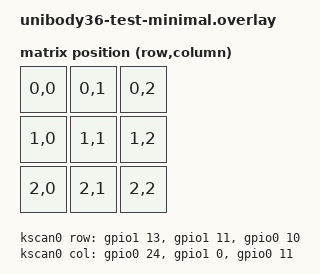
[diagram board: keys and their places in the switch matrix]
/*
 * Minimal 3x3 test configuration
 * Tests first 3 rows and first 3 columns
 * Replace unibody36.overlay with this to test
 */

#include <dt-bindings/zmk/matrix_transform.h>

/ {
    chosen {
        zmk,kscan = &kscan0;
        zmk,matrix_transform = &default_transform;
    };

    default_transform: keymap_transform_0 {
        compatible = "zmk,matrix-transform";
        columns = <3>;
        rows = <3>;

        map = <
            RC(0,0) RC(0,1) RC(0,2)
            RC(1,0) RC(1,1) RC(1,2)
            RC(2,0) RC(2,1) RC(2,2)
        >;
    };

    kscan0: kscan {
        compatible = "zmk,kscan-gpio-matrix";
        label = "KSCAN";
        wakeup-source;

        diode-direction = "col2row";

        // First 3 rows only
        row-gpios
            = <&gpio1 13 (GPIO_ACTIVE_HIGH | GPIO_PULL_DOWN)>  // P1.13 - Top row
            , <&gpio1 11 (GPIO_ACTIVE_HIGH | GPIO_PULL_DOWN)>  // P1.11 - Second row
            , <&gpio0 10 (GPIO_ACTIVE_HIGH | GPIO_PULL_DOWN)>  // P0.10 - Third row
            ;

        // First 3 columns only (avoiding potentially problematic pins)
        col-gpios
            = <&gpio0 24 GPIO_ACTIVE_HIGH>  // P0.24 - Col 0
            , <&gpio1 0  GPIO_ACTIVE_HIGH>  // P1.00 - Col 1
            , <&gpio0 11 GPIO_ACTIVE_HIGH>  // P0.11 - Col 2
            ;
    };
};
